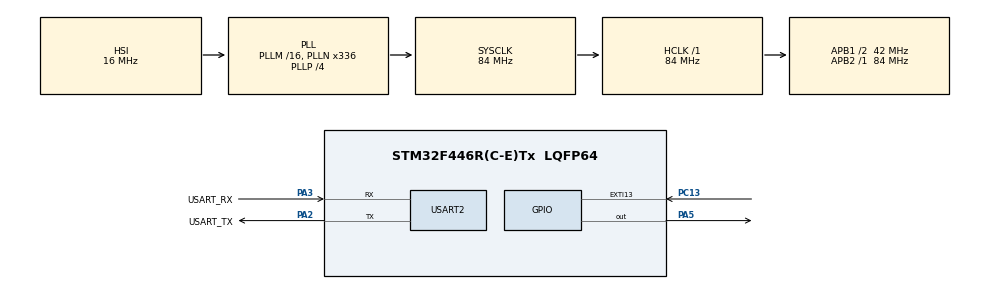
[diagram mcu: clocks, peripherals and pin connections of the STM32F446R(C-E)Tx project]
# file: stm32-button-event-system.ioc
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Mcu.Family=STM32F4
Mcu.Name=STM32F446R(C-E)Tx
Mcu.Package=LQFP64
NVIC.EXTI15_10_IRQn=true\:0\:0\:false\:false\:true\:true\:true\:true
NVIC.PriorityGroup=NVIC_PRIORITYGROUP_0
NVIC.TIM2_IRQn=true\:0\:0\:false\:false\:true\:true\:true\:true
PA13.GPIO_Label=TMS
PA13.Mode=Serial_Wire
PA13.Signal=SYS_JTMS-SWDIO
PA14.GPIO_Label=TCK
PA14.Mode=Serial_Wire
PA14.Signal=SYS_JTCK-SWCLK
PA2.GPIO_Label=USART_TX
PA2.Mode=Asynchronous
PA2.Signal=USART2_TX
PA3.GPIO_Label=USART_RX
PA3.Mode=Asynchronous
PA3.Signal=USART2_RX
PA5.Signal=GPIO_Output
PB3.GPIO_Label=SWO
PB3.Signal=SYS_JTDO-SWO
PC13.GPIO_ModeDefaultEXTI=GPIO_MODE_IT_RISING_FALLING
PC13.GPIO_PuPd=GPIO_NOPULL
PC13.Signal=GPXTI13
PC14-OSC32_IN.Mode=LSE-External-Oscillator
PC14-OSC32_IN.Signal=RCC_OSC32_IN
PC15-OSC32_OUT.Mode=LSE-External-Oscillator
PC15-OSC32_OUT.Signal=RCC_OSC32_OUT
PH0-OSC_IN.Mode=HSE-External-Oscillator
PH0-OSC_IN.Signal=RCC_OSC_IN
PH1-OSC_OUT.Mode=HSE-External-Oscillator
PH1-OSC_OUT.Signal=RCC_OSC_OUT
ProjectManager.HeapSize=0x200
ProjectManager.StackSize=0x400
ProjectManager.TargetToolchain=STM32CubeIDE
RCC.48MHZClocksFreq_Value=84000000
RCC.AHBFreq_Value=84000000
RCC.APB1CLKDivider=RCC_HCLK_DIV2
RCC.APB1Freq_Value=42000000
RCC.APB1TimFreq_Value=84000000
RCC.APB2Freq_Value=84000000
RCC.APB2TimFreq_Value=84000000
RCC.CortexFreq_Value=84000000
RCC.FLatency-AdvancedSettings=FLASH_LATENCY_2
RCC.HCLKFreq_Value=84000000
RCC.HSE_VALUE=8000000
RCC.HSI_VALUE=16000000
RCC.PLLN=336
RCC.PLLP=RCC_PLLP_DIV4
RCC.SYSCLKFreq_VALUE=84000000
RCC.SYSCLKSource=RCC_SYSCLKSOURCE_PLLCLK
RCC.USBFreq_Value=168000000
RCC.VCOOutputFreq_Value=336000000
TIM2.Period=200
TIM2.Prescaler=15999
USART2.VirtualMode=VM_ASYNC
VP_TIM2_VS_ClockSourceINT.Mode=Internal
board=NUCLEO-F446RE

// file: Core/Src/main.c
/* USER CODE BEGIN Header */
/**
  ******************************************************************************
  * @file           : main.c
  * @brief          : Main program body
  ******************************************************************************
  * @attention
  *
  * Copyright (c) 2026 STMicroelectronics.
  * All rights reserved.
  *
  * This software is licensed under terms that can be found in the LICENSE file
  * in the root directory of this software component.
  * If no LICENSE file comes with this software, it is provided AS-IS.
  *
  ******************************************************************************
  */
/* USER CODE END Header */
#include "main.h"

/* USER CODE BEGIN Includes */
#include "button.h"
#include "event_queue.h"
/* USER CODE END Includes */

/* USER CODE BEGIN PTD */
/* Defines IDLE and BLINK States */
typedef enum{
	LED_IDLE,
	LED_BLINK
}LEDState_t;

/* USER CODE END PTD */

/* USER CODE BEGIN PD */
#define INPUT_GROUP   GPIOC
#define BUTTON_SWITCH GPIO_PIN_13

#define OUTPUT_GROUP  GPIOA
#define LED           GPIO_PIN_5
#define BUTTON_ACTIVE GPIO_PIN_RESET
#define NUM_BUTTON 2
/* USER CODE END PD */

TIM_HandleTypeDef htim2;

UART_HandleTypeDef huart2;

/* USER CODE BEGIN PV */
/* Variable to hold the state of the button transitions*/
volatile ButtonState_t button_state =BUTTON_IDLE;
/* Variable to hold the Press event of Button*/
volatile ButtonEvent_t button_event =EVENT_NONE;
/* Variable to hold the start time when the button is first pressed*/
uint32_t press_start_time=0;
/* Variable to hold the start time when the button is first pressed*/
uint32_t press2_start_time=0;
/* Variable to hold the overall duration of the button press*/
uint32_t press_duration=0;
/* Variable to hold the overall duration of the button press*/
uint32_t press2_duration=0;
/* Variable to hold the overall duration of the button press*/
uint32_t release_time=0;
/* Variable to hold the button attributes */
button_t button[NUM_BUTTON];
/* Variable to hold the LED States */
LEDState_t  LEDState;
/* Variable to indicate the setting of LED toggle once */
static uint8_t toggle_once_flag=0;
/* Variable to indicate the setting of LED toggle twice */
static uint8_t toggle_twice_flag=0;

/* USER CODE END PV */

void SystemClock_Config(void);
static void MX_GPIO_Init(void);
static void MX_USART2_UART_Init(void);
static void MX_TIM2_Init(void);
/* USER CODE BEGIN PFP */
static void app_led_state_eval(void);
static void app_led_output(void);
static uint8_t button_collect_events(uint8_t index);
static void process_appl_events(void);
/* USER CODE END PFP */

/* USER CODE BEGIN 0 */

/************************************************************
  * @brief  HAL Callback for the EXTI Trigger
  *         1. Performs Button state transitions.
  *         2. Starts the timer based on the Button state.
  *         3. Single and Double click Evaluated.
  * @retval void
  ***********************************************************/
void HAL_GPIO_EXTI_Callback(uint16_t GPIO_Pin)
{
	for(int i =0;i<NUM_BUTTON;i++){
		if(GPIO_Pin == button[i].pin)
		{
			if(HAL_GPIO_ReadPin(button[i].port,button[i].pin)==BUTTON_ACTIVE)
			{
				button_handle_press(&button[i]);

			}
			else
			{
				button_handle_release(&button[i]);
			}
		}

	}
}

/************************************************************
 * @brief  Collects and processes the events for LED States
 * @retval void
 ***********************************************************/
static void app_led_state_eval()
{

	uint8_t index=0;

	while(index<NUM_BUTTON)
	{
		/*update the events in queue*/
		index = button_collect_events(index);
		/*process the queue event to set the LED state*/
		process_appl_events();
	}
}

/************************************************************
 * @brief  Collects the events into the queue for ordered processing
 * @retval void
 ***********************************************************/
static uint8_t button_collect_events(uint8_t index)
{
    uint8_t stop_index=NUM_BUTTON;
	app_event_t app_event;
	ButtonEvent_t evt;
	for(int i =index;i<NUM_BUTTON;i++)
	{

		button_process(&button[i]);

		evt =  button_pop_event(&button[i]);
        /*Load all the valid event to the queue*/
		if(evt!=EVENT_NONE)
		{

			app_event.button_id = i;
			app_event.event =evt;

			if(!event_queue_push(&app_event))
			{
				/*Since processing rest of the button will not yield
				 * any benefit since the queue is full, hence stop at next index
				 */
				stop_index = i+1;
				break;
			}
		}
	}
	return stop_index;
}

/************************************************************
 * @brief  Sets the LED State based on the  Button Events
 *         SINGLE CLICK : LED_TOG_ONCE
 *         DOUBLE CLICK : LED_TOG_TWICE
 *         LONG CLICK : Keep the LED in BLINK state
 * @retval void
 ***********************************************************/
static void process_appl_events(void)
{
	app_event_t app_event;
	while(event_queue_pop(&app_event))
	{
		switch(app_event.event)
		{
		/*Toggle the LED if its a single click*/
		case EVENT_LONG_CLICK:
			LEDState = LED_BLINK;
			break;
			/*Blink the LED if its a long click*/
		case EVENT_SINGLE_CLICK:
			toggle_once_flag=1;
			LEDState = LED_IDLE;
			break;
			/*Toggle the LED twice with delay of 1s if its a double click*/
		case EVENT_DOUBLE_CLICK:
			toggle_twice_flag=1;
			LEDState = LED_IDLE;
			break;
			/*There is no event so do nothing*/
		default:
			break;
		}
	}
}
/************************************************************
 * @brief  Toggles/Blink the LED based on the Button State
 *         SINGLE CLICK : Toggle Once
 *         DOUBLE CLICK : Toggle twice
 *         LONG CLICK : Keep the LED in BLINK state
 * @retval void
  ***********************************************************/
static void app_led_output()
{
	static uint32_t last_toggle=0;
	static uint8_t toggle_counter =0;

	/*State Driven Behaviour*/
	if(LEDState == LED_BLINK){
		/*Blink => Toggle with delay(500ms) */
		if(HAL_GetTick()-last_toggle > 500)
		{
			HAL_GPIO_TogglePin(OUTPUT_GROUP,LED);
			last_toggle = HAL_GetTick();
		}
	}

	/*One time action */

	/*Toggle once*/
	if(toggle_once_flag)
	{
		HAL_GPIO_TogglePin(OUTPUT_GROUP,LED);
		toggle_once_flag=0;

	}

	/*Toggle twice*/
	if(toggle_twice_flag)
	{
		if(HAL_GetTick()-last_toggle > 1000)
		{
			HAL_GPIO_TogglePin(OUTPUT_GROUP,LED);
			last_toggle = HAL_GetTick();
			toggle_counter++;
		}
		if(toggle_counter>1)
		{
			last_toggle=0;
			toggle_counter=0;
			toggle_twice_flag=0;
		}
	}

}
/* USER CODE END 0 */

/************************************************************
  * @brief  The application entry point.
  * @retval int
  ***********************************************************/
int main(void)
{

  /* MCU Configuration--------------------------------------------------------*/

  /* Reset of all peripherals, Initializes the Flash interface and the Systick. */
  HAL_Init();

  /* Configure the system clock */
  SystemClock_Config();

  /* Initialize all configured peripherals */
  MX_GPIO_Init();
  MX_USART2_UART_Init();
  MX_TIM2_Init();
  /* USER CODE BEGIN 2 */
  /*Initialize the button*/
  button_init(&button[0],GPIOC,GPIO_PIN_13);
  button_init(&button[1],GPIOC,GPIO_PIN_14);
  event_queue_init();
  /* USER CODE END 2 */

  /* Infinite loop */
  /* USER CODE BEGIN WHILE */
  while (1)
  {
	app_led_state_eval();
	app_led_output();
    /* USER CODE END WHILE */

  }
}

void SystemClock_Config(void)
{
  RCC_OscInitTypeDef RCC_OscInitStruct = {0};
  RCC_ClkInitTypeDef RCC_ClkInitStruct = {0};

  /** Configure the main internal regulator output voltage
  */
  __HAL_RCC_PWR_CLK_ENABLE();
  __HAL_PWR_VOLTAGESCALING_CONFIG(PWR_REGULATOR_VOLTAGE_SCALE3);

  /** Initializes the RCC Oscillators according to the specified parameters
  * in the RCC_OscInitTypeDef structure.
  */
  RCC_OscInitStruct.OscillatorType = RCC_OSCILLATORTYPE_HSI;
  RCC_OscInitStruct.HSIState = RCC_HSI_ON;
  RCC_OscInitStruct.HSICalibrationValue = RCC_HSICALIBRATION_DEFAULT;
  RCC_OscInitStruct.PLL.PLLState = RCC_PLL_ON;
  RCC_OscInitStruct.PLL.PLLSource = RCC_PLLSOURCE_HSI;
  RCC_OscInitStruct.PLL.PLLM = 16;
  RCC_OscInitStruct.PLL.PLLN = 336;
  RCC_OscInitStruct.PLL.PLLP = RCC_PLLP_DIV4;
  RCC_OscInitStruct.PLL.PLLQ = 2;
  RCC_OscInitStruct.PLL.PLLR = 2;
  if (HAL_RCC_OscConfig(&RCC_OscInitStruct) != HAL_OK)
  {
    Error_Handler();
  }

  /** Initializes the CPU, AHB and APB buses clocks
  */
  RCC_ClkInitStruct.ClockType = RCC_CLOCKTYPE_HCLK|RCC_CLOCKTYPE_SYSCLK
                              |RCC_CLOCKTYPE_PCLK1|RCC_CLOCKTYPE_PCLK2;
  RCC_ClkInitStruct.SYSCLKSource = RCC_SYSCLKSOURCE_PLLCLK;
  RCC_ClkInitStruct.AHBCLKDivider = RCC_SYSCLK_DIV1;
  RCC_ClkInitStruct.APB1CLKDivider = RCC_HCLK_DIV2;
  RCC_ClkInitStruct.APB2CLKDivider = RCC_HCLK_DIV1;

  if (HAL_RCC_ClockConfig(&RCC_ClkInitStruct, FLASH_LATENCY_2) != HAL_OK)
  {
    Error_Handler();
  }
}

static void MX_TIM2_Init(void)
{

  TIM_ClockConfigTypeDef sClockSourceConfig = {0};
  TIM_MasterConfigTypeDef sMasterConfig = {0};

  htim2.Instance = TIM2;
  htim2.Init.Prescaler = 15999;
  htim2.Init.CounterMode = TIM_COUNTERMODE_UP;
  htim2.Init.Period = 200;
  htim2.Init.ClockDivision = TIM_CLOCKDIVISION_DIV1;
  htim2.Init.AutoReloadPreload = TIM_AUTORELOAD_PRELOAD_DISABLE;
  if (HAL_TIM_Base_Init(&htim2) != HAL_OK)
  {
    Error_Handler();
  }
  sClockSourceConfig.ClockSource = TIM_CLOCKSOURCE_INTERNAL;
  if (HAL_TIM_ConfigClockSource(&htim2, &sClockSourceConfig) != HAL_OK)
  {
    Error_Handler();
  }
  sMasterConfig.MasterOutputTrigger = TIM_TRGO_RESET;
  sMasterConfig.MasterSlaveMode = TIM_MASTERSLAVEMODE_DISABLE;
  if (HAL_TIMEx_MasterConfigSynchronization(&htim2, &sMasterConfig) != HAL_OK)
  {
    Error_Handler();
  }

}

static void MX_USART2_UART_Init(void)
{

  huart2.Instance = USART2;
  huart2.Init.BaudRate = 115200;
  huart2.Init.WordLength = UART_WORDLENGTH_8B;
  huart2.Init.StopBits = UART_STOPBITS_1;
  huart2.Init.Parity = UART_PARITY_NONE;
  huart2.Init.Mode = UART_MODE_TX_RX;
  huart2.Init.HwFlowCtl = UART_HWCONTROL_NONE;
  huart2.Init.OverSampling = UART_OVERSAMPLING_16;
  if (HAL_UART_Init(&huart2) != HAL_OK)
  {
    Error_Handler();
  }

}

static void MX_GPIO_Init(void)
{
  GPIO_InitTypeDef GPIO_InitStruct = {0};

  /* GPIO Ports Clock Enable */
  __HAL_RCC_GPIOC_CLK_ENABLE();
  __HAL_RCC_GPIOH_CLK_ENABLE();
  __HAL_RCC_GPIOA_CLK_ENABLE();
  __HAL_RCC_GPIOB_CLK_ENABLE();

  /*Configure GPIO pin Output Level */
  HAL_GPIO_WritePin(GPIOA, GPIO_PIN_5, GPIO_PIN_RESET);

  /*Configure GPIO pins : PC13 PC14 */
  GPIO_InitStruct.Pin = GPIO_PIN_13|GPIO_PIN_14;
  GPIO_InitStruct.Mode = GPIO_MODE_IT_RISING_FALLING;
  GPIO_InitStruct.Pull = GPIO_NOPULL;
  HAL_GPIO_Init(GPIOC, &GPIO_InitStruct);

  /*Configure GPIO pin : PA5 */
  GPIO_InitStruct.Pin = GPIO_PIN_5;
  GPIO_InitStruct.Mode = GPIO_MODE_OUTPUT_PP;
  GPIO_InitStruct.Pull = GPIO_NOPULL;
  GPIO_InitStruct.Speed = GPIO_SPEED_FREQ_LOW;
  HAL_GPIO_Init(GPIOA, &GPIO_InitStruct);

  /* EXTI interrupt init*/
  HAL_NVIC_SetPriority(EXTI15_10_IRQn, 0, 0);
  HAL_NVIC_EnableIRQ(EXTI15_10_IRQn);

}

void Error_Handler(void)
{
  __disable_irq();
  while (1)
  {
  }
}

///******************************To be considered in next upgrade#start********************************************************
//  * @brief  HAL Callback when the timer is elapsed which was started
//  *         in HAL_GPIO_EXTI_Callback
//  *         1. Resets the timer
//  *         2. Toggles the LED based on button state
//  * @retval void
//  */
//void HAL_TIM_PeriodElapsedCallback(TIM_HandleTypeDef *htim)
//{
//	if(htim->Instance == TIM2)
//	{
//		/*stop timer*/
//		HAL_TIM_Base_Stop_IT(&htim2);
//
//		/*If the state is debounce then
//		 *  evaluate the pin to set the Button state accordingly*/
//		if(button_state == BUTTON_DEBOUNCING)
//		{
//			/* Read the pin to be still pressed after debounce time*/
//			if(HAL_GPIO_ReadPin(INPUT_GROUP,BUTTON_SWITCH) == BUTTON_ACTIVE)
//			{
//
//				button_state = BUTTON_FIRST_PRESS;
//				/*Capture the button press time*/
//				press_start_time = HAL_GetTick();
//			}
//			else
//			{
//				/*Ignore the event since it was not valid*/
//				button_state = BUTTON_IDLE;
//			}
//
//		}
//
//	}
//}
///******************************To be considered in next upgrade#end********************************************************
